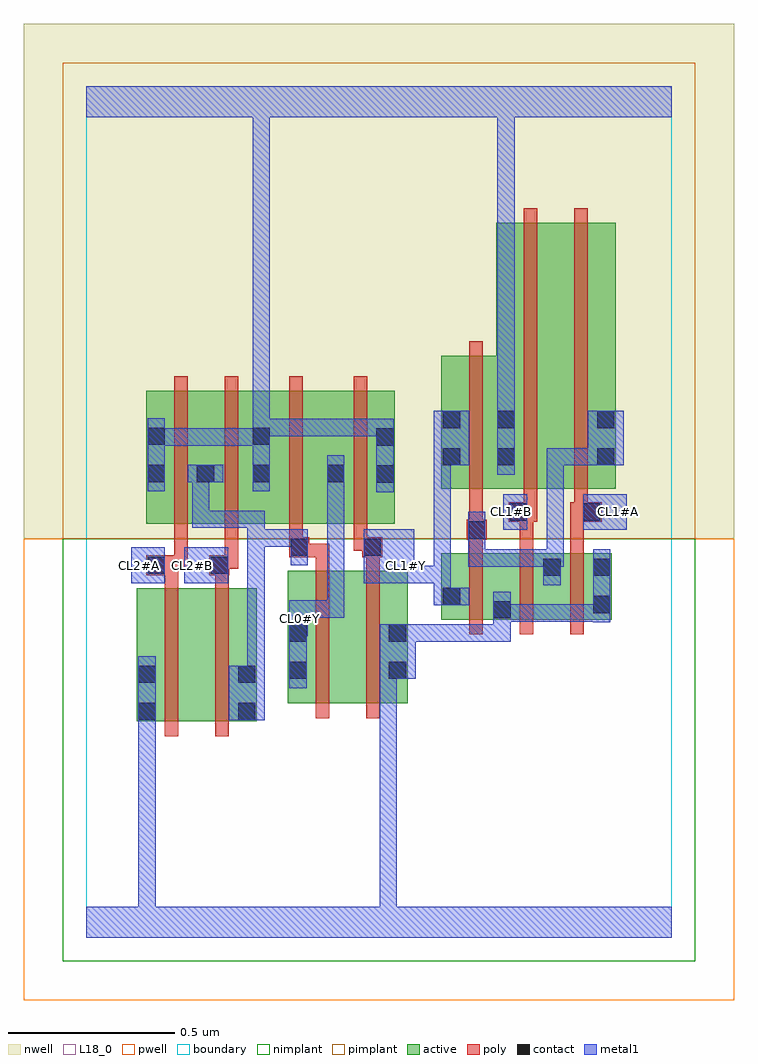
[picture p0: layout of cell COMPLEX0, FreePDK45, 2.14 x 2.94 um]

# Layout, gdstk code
import gdstk
lib = gdstk.Library(unit=1e-6, precision=1e-09)
def R(c, l, rs):  # rectangles x0, y0, x1, y1
    for r in rs: c.add(gdstk.rectangle(r[:2], r[2:], *l))
def A(c, l, x, y, w, h, nx, ny, dx, dy):  # array of equal rectangles
    R(c, l, [(x+i*dx, y+j*dy, x+i*dx+w, y+j*dy+h) for i in range(nx) for j in range(ny)])
active = (1, 0)
pwell = (2, 0)
nwell = (3, 0)
nimplant = (4, 0)
pimplant = (5, 0)
poly = (9, 0)
contact = (10, 0)
metal1 = (11, 0)
L18_0 = (18, 0)
boundary = (235, 0)

complex0 = lib.new_cell('COMPLEX0')
A(complex0, active, 1.22, 0.956, 0.06, 0.2, 3, 1, 0.15, 0)
R(complex0, active, [(0.152,0.65,0.212,1.05), (0.152,0.65,0.332,1.05), (0.332,0.65,0.512,1.05), (0.452,0.65,0.512,1.05), (0.606,0.704,0.666,1.104), (0.606,0.704,0.786,1.104), (0.786,0.704,0.966,1.104), (0.906,0.704,0.966,1.104), (1.068,0.956,1.128,1.156), (1.068,0.956,1.28,1.156), (1.22,0.956,1.43,1.156), (1.37,0.956,1.58,1.156), (0.18,1.244,0.24,1.644), (0.18,1.244,0.388,1.644), (0.328,1.244,0.556,1.644), (0.496,1.244,0.78,1.644), (0.72,1.244,0.928,1.644), (0.868,1.244,0.928,1.644), (1.068,1.35,1.128,1.75), (1.068,1.35,1.292,1.75), (1.232,1.35,1.292,2.15), (1.232,1.35,1.412,2.15), (1.412,1.35,1.592,2.15), (1.532,1.35,1.592,2.15), (0.328,1.366,0.388,1.644), (0.496,1.366,0.556,1.644), (0.72,1.366,0.78,1.644)])
R(complex0, pwell, [(-0.188,-0.188,1.948,1.2)])
R(complex0, nwell, [(-0.188,1.2,1.948,2.748)])
R(complex0, nimplant, [(-0.072,-0.072,1.832,1.2)])
R(complex0, pimplant, [(-0.072,1.2,1.832,2.632)])
A(complex0, poly, 1.152, 0.912, 0.04, 0.288, 3, 1, 0.152, 0)
A(complex0, poly, 0.416, 1.2, 0.04, 0.488, 3, 1, 0.194, 0)
R(complex0, poly, [(0.236,0.606,0.276,1.094), (0.388,0.606,0.428,1.094), (0.69,0.66,0.73,1.148), (0.842,0.66,0.882,1.148), (0.236,1.054,0.276,1.13), (0.388,1.054,0.428,1.13), (0.18,1.09,0.276,1.15), (0.37,1.09,0.43,1.15), (0.69,1.108,0.73,1.184), (0.842,1.108,0.882,1.184), (0.236,1.11,0.276,1.15), (0.236,1.11,0.304,1.15), (0.264,1.11,0.304,1.24), (0.39,1.11,0.43,1.15), (0.39,1.11,0.456,1.15), (0.416,1.11,0.456,1.24), (0.61,1.144,0.67,1.204), (0.63,1.144,0.67,1.184), (0.63,1.144,0.73,1.184), (0.83,1.144,0.89,1.204), (1.152,1.16,1.192,1.236), (1.304,1.16,1.344,1.29), (1.456,1.16,1.496,1.29), (0.61,1.164,0.65,1.24), (0.804,1.164,0.844,1.24), (0.804,1.164,0.87,1.204), (0.83,1.164,0.87,1.204), (1.144,1.196,1.204,1.256), (0.264,1.2,0.304,1.688), (1.152,1.216,1.192,1.256), (1.152,1.216,1.192,1.256), (1.152,1.216,1.192,1.346), (1.27,1.25,1.356,1.31), (1.304,1.25,1.344,1.29), (1.304,1.25,1.344,1.29), (1.456,1.25,1.55,1.31), (1.316,1.27,1.356,1.346), (1.468,1.27,1.508,1.346), (1.468,1.27,1.508,1.31), (1.468,1.27,1.508,1.31), (1.152,1.306,1.192,1.794), (1.316,1.306,1.356,2.194), (1.468,1.306,1.508,2.194)])
R(complex0, contact, [(0.156,0.654,0.208,0.706), (0.456,0.654,0.508,0.706), (0.156,0.766,0.208,0.818), (0.456,0.766,0.508,0.818), (0.61,0.778,0.662,0.83), (0.91,0.778,0.962,0.83), (0.61,0.89,0.662,0.942), (0.91,0.89,0.962,0.942), (1.224,0.96,1.276,1.012), (1.524,0.976,1.576,1.028), (1.072,1,1.124,1.052), (1.374,1.088,1.426,1.14), (1.524,1.088,1.576,1.14), (0.184,1.094,0.236,1.146), (0.374,1.094,0.426,1.146), (0.614,1.148,0.666,1.2), (0.834,1.148,0.886,1.2), (1.148,1.2,1.2,1.252), (1.274,1.254,1.326,1.306), (1.494,1.254,1.546,1.306), (0.872,1.368,0.924,1.42), (0.184,1.37,0.236,1.422), (0.332,1.37,0.384,1.422), (0.5,1.37,0.552,1.422), (0.724,1.37,0.776,1.422), (1.072,1.42,1.124,1.472), (1.236,1.42,1.288,1.472), (1.536,1.42,1.588,1.472), (0.872,1.48,0.924,1.532), (0.184,1.482,0.236,1.534), (0.5,1.482,0.552,1.534), (1.072,1.532,1.124,1.584), (1.236,1.532,1.288,1.584), (1.536,1.532,1.588,1.584)])
R(complex0, metal1, [(0,0,1.76,0.092), (0.156,0.04,0.208,0.092), (0.156,0.04,0.208,0.092), (0.156,0.04,0.208,0.092), (0.156,0.04,0.208,0.092), (0.156,0.04,0.208,0.092), (0.156,0.04,0.208,0.092), (0.156,0.04,0.208,0.092), (0.156,0.04,0.208,0.092), (0.156,0.04,0.208,0.092), (0.156,0.04,0.208,0.092), (0.156,0.04,0.208,0.678), (0.882,0.04,0.934,0.092), (0.882,0.04,0.934,0.092), (0.882,0.04,0.934,0.092), (0.882,0.04,0.934,0.092), (0.882,0.04,0.934,0.092), (0.882,0.04,0.934,0.092), (0.882,0.04,0.934,0.092), (0.882,0.04,0.934,0.092), (0.882,0.04,0.934,0.092), (0.882,0.04,0.934,0.092), (0.882,0.04,0.934,0.092), (0.882,0.04,0.934,0.092), (0.882,0.04,0.934,0.83), (0.156,0.626,0.208,0.678), (0.156,0.626,0.208,0.678), (0.156,0.626,0.208,0.846), (0.428,0.654,0.536,0.818), (0.61,0.75,0.662,0.97), (0.484,0.766,0.536,1.228), (0.882,0.778,0.99,0.942), (0.938,0.89,1.116,0.942), (1.064,0.89,1.116,0.942), (1.064,0.89,1.116,0.942), (1.064,0.89,1.116,0.942), (1.064,0.89,1.116,0.942), (1.064,0.89,1.116,0.942), (1.064,0.89,1.116,0.942), (1.064,0.89,1.116,0.942), (1.064,0.89,1.276,0.942), (1.224,0.89,1.276,1.04), (0.61,0.906,0.662,0.958), (0.61,0.906,0.666,1.014), (1.524,0.948,1.576,1.168), (1.224,0.95,1.398,1.002), (1.346,0.95,1.398,1.002), (1.346,0.95,1.398,1.002), (1.346,0.95,1.398,1.002), (1.346,0.95,1.576,1.002), (1.524,0.95,1.576,1.002), (1.524,0.95,1.576,1.002), (0.614,0.962,0.776,1.014), (0.724,0.962,0.776,1.014), (0.724,0.962,0.776,1.014), (0.724,0.962,0.776,1.014), (0.724,0.962,0.776,1.394), (1.044,1,1.096,1.118), (1.044,1,1.152,1.052), (1.374,1.06,1.426,1.168), (0.134,1.066,0.236,1.174), (0.294,1.066,0.426,1.174), (0.834,1.066,0.986,1.228), (0.934,1.066,0.986,1.118), (0.934,1.066,0.986,1.118), (0.934,1.066,1.096,1.118), (1.044,1.066,1.096,1.118), (1.044,1.066,1.096,1.472), (1.148,1.116,1.226,1.168), (1.148,1.116,1.2,1.28), (1.174,1.116,1.226,1.168), (1.174,1.116,1.426,1.168), (1.374,1.116,1.426,1.168), (1.374,1.116,1.426,1.168), (1.374,1.116,1.426,1.168), (1.374,1.116,1.436,1.168), (1.384,1.116,1.436,1.472), (0.614,1.12,0.666,1.228), (0.484,1.176,0.536,1.228), (0.484,1.176,0.536,1.228), (0.484,1.176,0.536,1.228), (0.484,1.176,0.536,1.228), (0.484,1.176,0.536,1.284), (0.484,1.176,0.666,1.228), (1.254,1.226,1.326,1.334), (1.494,1.226,1.626,1.334), (0.318,1.232,0.37,1.284), (0.318,1.232,0.37,1.284), (0.318,1.232,0.37,1.284), (0.318,1.232,0.536,1.284), (0.318,1.232,0.37,1.422), (0.872,1.34,0.924,1.56), (0.184,1.342,0.236,1.562), (0.5,1.342,0.552,1.562), (0.724,1.342,0.776,1.394), (0.724,1.342,0.776,1.394), (0.724,1.342,0.776,1.45), (0.304,1.37,0.412,1.422), (1.236,1.392,1.288,1.612), (1.044,1.42,1.096,1.472), (1.044,1.42,1.096,1.472), (1.044,1.42,1.152,1.584), (1.384,1.42,1.436,1.472), (1.384,1.42,1.436,1.472), (1.384,1.42,1.436,1.472), (1.384,1.42,1.56,1.472), (1.508,1.42,1.56,1.472), (1.508,1.42,1.56,1.472), (1.508,1.42,1.616,1.584), (0.184,1.48,0.236,1.532), (0.184,1.48,0.236,1.532), (0.184,1.48,0.37,1.532), (0.318,1.48,0.37,1.532), (0.318,1.48,0.37,1.532), (0.318,1.48,0.37,1.532), (0.318,1.48,0.552,1.532), (0.5,1.508,0.552,1.56), (0.5,1.508,0.552,1.56), (0.5,1.508,0.776,1.56), (0.724,1.508,0.776,1.56), (0.724,1.508,0.776,1.56), (0.724,1.508,0.776,1.56), (0.724,1.508,0.924,1.56), (0.872,1.508,0.924,1.56), (0.872,1.508,0.924,1.56), (0.5,1.51,0.552,1.562), (0.5,1.51,0.552,1.562), (0.5,1.51,0.552,1.562), (0.5,1.51,0.552,1.562), (0.5,1.51,0.552,1.562), (0.5,1.51,0.552,1.562), (0.5,1.51,0.552,1.562), (0.5,1.51,0.552,1.562), (0.5,1.51,0.552,2.52), (1.236,1.56,1.288,1.612), (1.236,1.56,1.288,1.612), (1.236,1.56,1.288,2.52), (0,2.468,1.76,2.56), (0.5,2.468,0.552,2.52), (0.5,2.468,0.552,2.52), (0.5,2.468,0.552,2.52), (0.5,2.468,0.552,2.52), (0.5,2.468,0.552,2.52), (0.5,2.468,0.552,2.52), (0.5,2.468,0.552,2.52), (0.5,2.468,0.552,2.52), (1.236,2.468,1.288,2.52), (1.236,2.468,1.288,2.52), (1.236,2.468,1.288,2.52), (1.236,2.468,1.288,2.52), (1.236,2.468,1.288,2.52), (1.236,2.468,1.288,2.52)])
R(complex0, L18_0, [(0,0,1.76,0.092), (0.156,0.04,0.208,0.092), (0.156,0.04,0.208,0.092), (0.156,0.04,0.208,0.092), (0.156,0.04,0.208,0.092), (0.156,0.04,0.208,0.092), (0.156,0.04,0.208,0.092), (0.156,0.04,0.208,0.092), (0.156,0.04,0.208,0.092), (0.156,0.04,0.208,0.092), (0.156,0.04,0.208,0.092), (0.156,0.04,0.208,0.678), (0.882,0.04,0.934,0.092), (0.882,0.04,0.934,0.092), (0.882,0.04,0.934,0.092), (0.882,0.04,0.934,0.092), (0.882,0.04,0.934,0.092), (0.882,0.04,0.934,0.092), (0.882,0.04,0.934,0.092), (0.882,0.04,0.934,0.092), (0.882,0.04,0.934,0.092), (0.882,0.04,0.934,0.092), (0.882,0.04,0.934,0.092), (0.882,0.04,0.934,0.092), (0.882,0.04,0.934,0.83), (0.156,0.626,0.208,0.678), (0.156,0.626,0.208,0.678), (0.156,0.626,0.208,0.846), (0.61,0.75,0.662,0.97), (0.882,0.778,0.99,0.942), (0.938,0.89,1.116,0.942), (1.064,0.89,1.116,0.942), (1.064,0.89,1.116,0.942), (1.064,0.89,1.116,0.942), (1.064,0.89,1.116,0.942), (1.064,0.89,1.116,0.942), (1.064,0.89,1.116,0.942), (1.064,0.89,1.116,0.942), (1.064,0.89,1.276,0.942), (1.224,0.89,1.276,1.04), (0.61,0.906,0.662,0.958), (0.61,0.906,0.666,1.014), (0.614,0.934,0.666,0.986), (1.524,0.948,1.576,1.168), (1.224,0.95,1.398,1.002), (1.346,0.95,1.398,1.002), (1.346,0.95,1.398,1.002), (1.346,0.95,1.398,1.002), (1.346,0.95,1.576,1.002), (1.524,0.95,1.576,1.002), (1.524,0.95,1.576,1.002), (0.614,0.962,0.776,1.014), (0.724,0.962,0.776,1.014), (0.724,0.962,0.776,1.014), (0.724,0.962,0.776,1.014), (0.724,0.962,0.776,1.394), (1.044,1,1.152,1.052), (1.044,1,1.096,1.118), (0.134,1.066,0.236,1.174), (0.294,1.066,0.426,1.174), (0.834,1.066,0.986,1.228), (0.934,1.066,0.986,1.118), (0.934,1.066,0.986,1.118), (0.934,1.066,1.096,1.118), (1.044,1.066,1.096,1.118), (1.044,1.066,1.096,1.472), (0.134,1.094,0.186,1.146), (0.294,1.094,0.346,1.146), (0.934,1.094,0.986,1.146), (1.254,1.226,1.326,1.334), (1.494,1.226,1.626,1.334), (1.254,1.254,1.306,1.306), (1.574,1.254,1.626,1.306), (0.872,1.34,0.924,1.56), (0.184,1.342,0.236,1.562), (0.5,1.342,0.552,1.562), (0.724,1.342,0.776,1.394), (0.724,1.342,0.776,1.394), (0.724,1.342,0.776,1.45), (1.236,1.392,1.288,1.612), (1.044,1.42,1.096,1.472), (1.044,1.42,1.096,1.472), (1.044,1.42,1.152,1.584), (0.184,1.48,0.236,1.532), (0.184,1.48,0.236,1.532), (0.184,1.48,0.37,1.532), (0.318,1.48,0.37,1.532), (0.318,1.48,0.37,1.532), (0.318,1.48,0.37,1.532), (0.318,1.48,0.552,1.532), (0.5,1.508,0.552,1.56), (0.5,1.508,0.552,1.56), (0.5,1.508,0.776,1.56), (0.724,1.508,0.776,1.56), (0.724,1.508,0.776,1.56), (0.724,1.508,0.776,1.56), (0.724,1.508,0.924,1.56), (0.872,1.508,0.924,1.56), (0.872,1.508,0.924,1.56), (0.5,1.51,0.552,1.562), (0.5,1.51,0.552,1.562), (0.5,1.51,0.552,1.562), (0.5,1.51,0.552,1.562), (0.5,1.51,0.552,1.562), (0.5,1.51,0.552,1.562), (0.5,1.51,0.552,1.562), (0.5,1.51,0.552,1.562), (0.5,1.51,0.552,2.52), (1.236,1.56,1.288,1.612), (1.236,1.56,1.288,1.612), (1.236,1.56,1.288,2.52), (0,2.468,1.76,2.56), (0.5,2.468,0.552,2.52), (0.5,2.468,0.552,2.52), (0.5,2.468,0.552,2.52), (0.5,2.468,0.552,2.52), (0.5,2.468,0.552,2.52), (0.5,2.468,0.552,2.52), (0.5,2.468,0.552,2.52), (0.5,2.468,0.552,2.52), (1.236,2.468,1.288,2.52), (1.236,2.468,1.288,2.52), (1.236,2.468,1.288,2.52), (1.236,2.468,1.288,2.52), (1.236,2.468,1.288,2.52), (1.236,2.468,1.288,2.52)])
R(complex0, boundary, [(0,0,1.76,2.56)])
complex0.add(gdstk.Label('CL0#Y', (0.64,0.96), layer=11, texttype=0))
complex0.add(gdstk.Label('CL1#A', (1.6,1.28), layer=11, texttype=0))
complex0.add(gdstk.Label('CL1#B', (1.28,1.28), layer=11, texttype=0))
complex0.add(gdstk.Label('CL1#Y', (0.96,1.12), layer=11, texttype=0))
complex0.add(gdstk.Label('CL2#A', (0.16,1.12), layer=11, texttype=0))
complex0.add(gdstk.Label('CL2#B', (0.32,1.12), layer=11, texttype=0))

lib.write_gds('COMPLEX0.gds')
